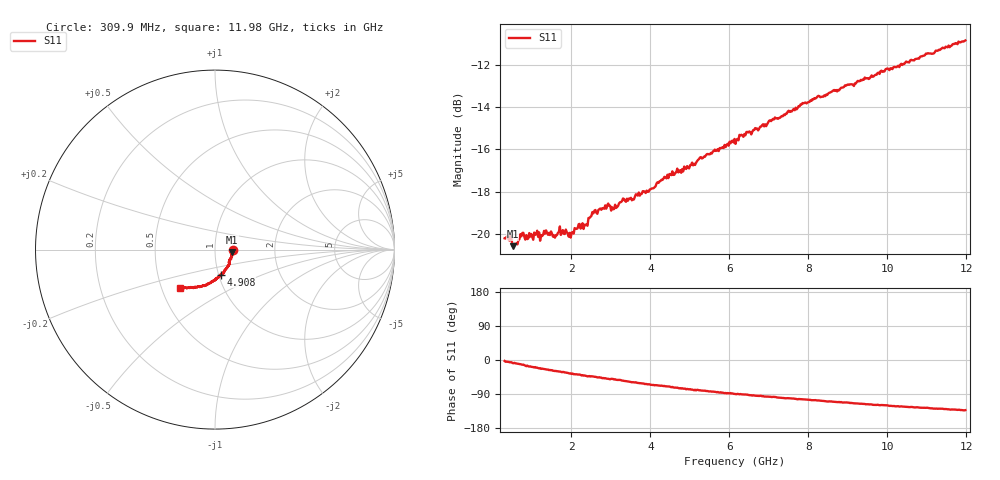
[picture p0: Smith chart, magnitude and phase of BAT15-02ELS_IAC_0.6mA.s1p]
! Infineon Technologies  Discrete & RF Semiconductors
! BAT15-02ELS
! IAC = 0.6 mA
! One-Port S-Parameters
# Hz  S  MA  R  50
!f  S11
!Hz  Mag  Ang
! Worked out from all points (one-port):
!   468 points, 309.9 MHz to 11.98 GHz, reference 50 ohm
!   lowest |S11| = -20.6 dB at 509.8 MHz (marker M1), VSWR 1.21, Z = 60.2 - j1.61 ohm
!   |S11| at or under -10 dB: start of sweep to end of sweep
!   S11 on the Smith chart (normalised r, x): 309.9 MHz: 1.22, -0.01; 4.908 GHz: 1.02, -0.29; 11.98 GHz: 0.63, -0.29
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3.0985e8  0.09778 -2.6
5.0975e8  0.09368 -8.1
5.847125e8  0.09471 -8.9
7.59625e8  0.1007 -12.5
8.59575e8  0.09945 -16.2
1.10945e9  0.1 -20.3
1.2094e9  0.09649 -21.5
1.334338e9  0.1003 -24.3
1.584212e9  0.0981 -29.1
1.734138e9  0.0996 -31.0
1.784112e9  0.1022 -31.5
1.984012e9  0.09817 -35.2
2.158925e9  0.1032 -38.4
2.358825e9  0.1051 -41.6
2.558725e9  0.112 -43.5
2.90855e9  0.117 -49.5
3.10845e9  0.1174 -50.9
3.233388e9  0.119 -52.6
3.933038e9  0.1259 -64.3
4.382812e9  0.1362 -69.4
4.70765e9  0.1399 -73.9
4.90755e9  0.1425 -77.4
6.156925e9  0.1634 -89.7
7.6062e9  0.1962 -101.7
8.2059e9  0.2099 -106.5
9.080462e9  0.2259 -113.2
1.052974e10  0.2549 -124.0
1.197901e10  0.2866 -132.3
